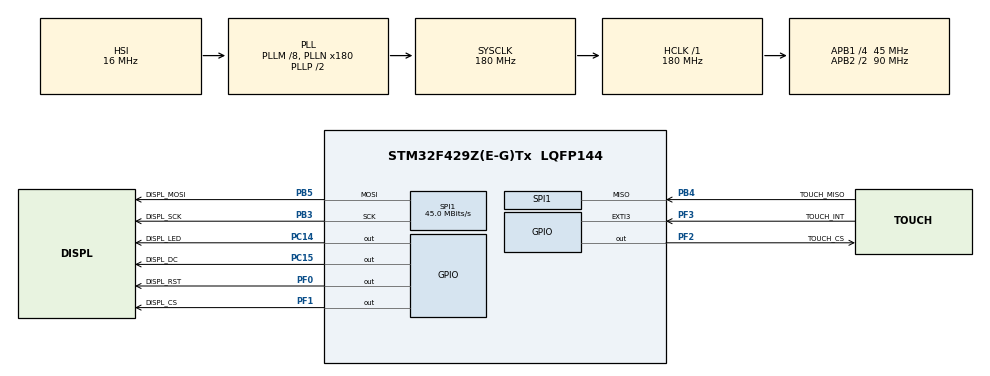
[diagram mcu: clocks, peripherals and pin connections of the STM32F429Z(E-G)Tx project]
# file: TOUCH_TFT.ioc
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Mcu.Family=STM32F4
Mcu.Name=STM32F429Z(E-G)Tx
Mcu.Package=LQFP144
NVIC.PriorityGroup=NVIC_PRIORITYGROUP_4
PB3.GPIO_Label=DISPL_SCK
PB3.Mode=Full_Duplex_Master
PB3.Signal=SPI1_SCK
PB4.GPIO_Label=TOUCH_MISO
PB4.Mode=Full_Duplex_Master
PB4.Signal=SPI1_MISO
PB5.GPIO_Label=DISPL_MOSI
PB5.Mode=Full_Duplex_Master
PB5.Signal=SPI1_MOSI
PC14/OSC32_IN.GPIO_Label=DISPL_LED
PC14/OSC32_IN.Signal=GPIO_Output
PC15/OSC32_OUT.GPIO_Label=DISPL_DC
PC15/OSC32_OUT.Signal=GPIO_Output
PF0.GPIO_Label=DISPL_RST
PF0.GPIO_Speed=GPIO_SPEED_FREQ_HIGH
PF0.Signal=GPIO_Output
PF1.GPIO_Label=DISPL_CS
PF1.GPIO_Speed=GPIO_SPEED_FREQ_HIGH
PF1.Signal=GPIO_Output
PF2.GPIO_Label=TOUCH_CS
PF2.Signal=GPIO_Output
PF3.GPIO_Label=TOUCH_INT
PF3.Signal=GPXTI3
PH0/OSC_IN.Mode=HSE-External-Oscillator
PH0/OSC_IN.Signal=RCC_OSC_IN
PH1/OSC_OUT.Mode=HSE-External-Oscillator
PH1/OSC_OUT.Signal=RCC_OSC_OUT
ProjectManager.HeapSize=0x200
ProjectManager.StackSize=0x400
ProjectManager.TargetToolchain=STM32CubeIDE
RCC.48MHZClocksFreq_Value=90000000
RCC.AHBFreq_Value=180000000
RCC.APB1CLKDivider=RCC_HCLK_DIV4
RCC.APB1Freq_Value=45000000
RCC.APB1TimFreq_Value=90000000
RCC.APB2CLKDivider=RCC_HCLK_DIV2
RCC.APB2Freq_Value=90000000
RCC.APB2TimFreq_Value=180000000
RCC.CortexFreq_Value=180000000
RCC.HCLKFreq_Value=180000000
RCC.HSE_VALUE=25000000
RCC.HSI_VALUE=16000000
RCC.LSE_VALUE=32768
RCC.PLLM=8
RCC.PLLN=180
RCC.SYSCLKFreq_VALUE=180000000
RCC.SYSCLKSource=RCC_SYSCLKSOURCE_PLLCLK
RCC.VCOOutputFreq_Value=360000000
SPI1.CalculateBaudRate=45.0 MBits/s
SPI1.Direction=SPI_DIRECTION_2LINES
SPI1.Mode=SPI_MODE_MASTER
SPI1.VirtualType=VM_MASTER
board=custom

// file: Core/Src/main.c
/* USER CODE BEGIN Header */
/**
  ******************************************************************************
  * @file           : main.c
  * @brief          : Main program body
  ******************************************************************************
  */
/* USER CODE END Header */

#include "main.h"

/* USER CODE BEGIN Includes */
#include "ili9488.h"
#include "xpt2046.h"
#include "ui_test.h"
#include "ui_gfx.h"
#include <stdio.h>
#include "ugfx.h"
#include "gradient.h"
/* USER CODE END Includes */

SPI_HandleTypeDef hspi1;

/* USER CODE BEGIN PV */
static char msg[64];

/*
 * Keep handles to widgets that callbacks need to reference.
 */
static ugfx_slider_t *g_sliderR = NULL;   /* Slider 1 — Rainbow / hue picker (VERTICAL)  */
static ugfx_slider_t *g_sliderG = NULL;   /* Slider 2 — Black → hue (HORIZONTAL)         */
static ugfx_slider_t *g_sliderB = NULL;   /* Slider 3 — Alpha → Blue (HORIZONTAL)        */
static ugfx_label_t  *g_label   = NULL;   /* status label                                */

/*
 * Declare the knob bitmap defined in ugfx.c so main.c can reference it.
 * The definition (KNOB_BMP_DATA[] + g_knob_bmp) lives in ugfx.c.
 */
extern const UI_Bitmap_t g_knob_bmp;

/* USER CODE END PV */

void SystemClock_Config(void);
static void MX_GPIO_Init(void);
static void MX_SPI1_Init(void);

/* USER CODE BEGIN PFP */

/* ══════════════════════════════════════════════════════════════════════════
   SLIDER CALLBACKS
   ══════════════════════════════════════════════════════════════════════════ */

int atest = 0;
int btest = 0;
int ctest = 0;

/**
 * @brief  Slider 1 — Rainbow hue picker (VERTICAL).
 *         Maps the 0-254 slider value → 0-360 hue and repaints ONLY the
 *         slider-2 pill track.
 */
static void OnSliderR_Changed(int32_t value)
{
    atest = (int)value;

    /* Map 0–254 slider range → 0–360 hue degrees */
    g_Slider2_Hue = (uint16_t)((value * 360) / 254);

    /* Repaint slider-2 gradient pill only — zero flicker */
    GRADIENT_RedrawSlider2Track();

    snprintf(msg, sizeof(msg), "H:%3u", (unsigned)g_Slider2_Hue);
    if (g_label) UGFX_LabelSetText(g_label, msg);
}

/**
 * @brief  Slider 2 — Black → dynamic hue (HORIZONTAL).
 */
static void OnSliderG_Changed(int32_t value)
{
    btest = (int)value;
    snprintf(msg, sizeof(msg), "B:%3d", btest);
    if (g_label) UGFX_LabelSetText(g_label, msg);
}

/**
 * @brief  Slider 3 — Alpha → Blue (HORIZONTAL).
 */
static void OnSliderB_Changed(int32_t value)
{
    ctest = (int)value;
    snprintf(msg, sizeof(msg), "C:%3d", ctest);
    if (g_label) UGFX_LabelSetText(g_label, msg);
}

/* ══════════════════════════════════════════════════════════════════════════
   BUTTON CALLBACKS
   ══════════════════════════════════════════════════════════════════════════ */

/**
 * @brief  RESET — resets all three sliders to 0 and restores hue.
 */
static void OnOkPressed(ugfx_button_t *btn)
{
    btn->label = "RESET!";

    atest = 0; btest = 0; ctest = 0;

    if (g_sliderR) UGFX_SliderSetValue(g_sliderR, 0);
    if (g_sliderG) UGFX_SliderSetValue(g_sliderG, 0);
    if (g_sliderB) UGFX_SliderSetValue(g_sliderB, 0);

    g_Slider2_Hue = 0u;
    GRADIENT_RedrawSlider2Track();

    if (g_label) UGFX_LabelSetText(g_label, "Reset OK");
}

/**
 * @brief  MID — sets all sliders to mid-range (100).
 */
static void OnTestPressed(ugfx_button_t *btn)
{
    btn->label    = "MID!";
    btn->col_idle = 0xF800u;
    btn->col_text = 0x0000u;

    atest = 100; btest = 100; ctest = 100;

    if (g_sliderR) UGFX_SliderSetValue(g_sliderR, 100);
    if (g_sliderG) UGFX_SliderSetValue(g_sliderG, 100);
    if (g_sliderB) UGFX_SliderSetValue(g_sliderB, 100);

    g_Slider2_Hue = (uint16_t)((100 * 360) / 255);
    GRADIENT_RedrawSlider2Track();

    if (g_label) UGFX_LabelSetText(g_label, "Mid set");
}

int test = 0;
static void OnTestPresseda(ugfx_button_t *btn)
{
    (void)btn;
    test++;
}

/* USER CODE END PFP */

int main(void)
{

    HAL_Init();

    SystemClock_Config();

    MX_GPIO_Init();
    MX_SPI1_Init();

    /* USER CODE BEGIN 2 */

    HAL_GPIO_WritePin(DISPL_CS_GPIO_Port, DISPL_CS_Pin, GPIO_PIN_SET);
    HAL_GPIO_WritePin(TOUCH_CS_GPIO_Port, TOUCH_CS_Pin, GPIO_PIN_SET);
    HAL_Delay(10);

    ILI9488_Init(&hspi1);
    ILI9488_SetOrientation(ILI9488_ORIENT_LANDSCAPE);
    XPT2046_Init(&hspi1);

    /* ── µGFX setup ──────────────────────────────────────────────────────── */
    UGFX_Init();
    UGFX_Begin();

    /* ══════════════════════════════════════════════════════════════════════
       SLIDER 1 — Rainbow / Hue picker  (VERTICAL, left side)
       Gradient pill: full hue rainbow, top=red → bottom=magenta
       bg_redraw_fn: GRADIENT_RedrawSlider1Track restores pill after erase
       knobBitmap:   24×24 diamond bitmap, white tint
       ══════════════════════════════════════════════════════════════════════ */
//    ugfx_slider_builder_t *sb = Slider(0, 254, 100);
//    sb->frame    (sb, 30, 350);
//    sb->origin   (sb, 12.5, 60);
//    sb->direction(sb, UGFX_HORIZONTAL);    /* col_track / col_fill are invisible behind the gradient pill,
//       but set them transparent so if bg_redraw_fn is ever removed
//       the track at least blends quietly */
//    sb->colors   (sb, 0x0000u, 0x0000u, 0xFFFFu);
//    sb->bgRedraw (sb, GRADIENT_RedrawSlider1Track);
//    sb->knobBitmap(sb, &g_knob_bmp, 1u, 0xFFFFu);
////    sb->onChanged(sb, OnSliderR_Changed);
//    g_sliderR = sb->build(sb);
//
//    /* ══════════════════════════════════════════════════════════════════════
//       SLIDER 2 — Black → dynamic hue  (HORIZONTAL)
//       Gradient pill: black → dark hue → bright hue (driven by slider 1)
//       bg_redraw_fn: GRADIENT_RedrawSlider2Track restores pill after erase
//       knobBitmap:   24×24 diamond bitmap, white tint
//       ══════════════════════════════════════════════════════════════════════ */
//    ugfx_slider_builder_t *sb1 = Slider(0, 254, 80);
//    sb1->frame    (sb1, 360, 15);
//    sb1->origin   (sb1, 125, 60);
//    sb1->direction(sb1, UGFX_HORIZONTAL);
//    sb1->colors   (sb1, 0x0000u, 0x0000u, 0xFFFFu);
//    sb1->bgRedraw (sb1, GRADIENT_RedrawSlider2Track);
//    sb1->knobBitmap(sb1, &g_knob_bmp, 1u, 0xFFFFu);
//    sb1->onChanged(sb1, OnSliderG_Changed);
//    g_sliderG = sb1->build(sb1);
//
//    /* ══════════════════════════════════════════════════════════════════════
//       SLIDER 3 — Checkerboard → Blue  (HORIZONTAL)
//       Gradient pill: checkerboard → solid blue (alpha illusion)
//       bg_redraw_fn: GRADIENT_RedrawSlider3Track restores pill after erase
//       knobBitmap:   24×24 diamond bitmap, white tint
//       ══════════════════════════════════════════════════════════════════════ */
//    ugfx_slider_builder_t *sb2 = Slider(0, 254, 160);
//    sb2->frame    (sb2, 360, 15);
//    sb2->origin   (sb2, 125, 185);
//    sb2->direction(sb2, UGFX_HORIZONTAL);
//    sb2->colors   (sb2, 0x0000u, 0x0000u, 0xFFFFu);
//    sb2->bgRedraw (sb2, GRADIENT_RedrawSlider3Track);
//    sb2->knobBitmap(sb2, &g_knob_bmp, 1u, 0xFFFFu);
//    sb2->onChanged(sb2, OnSliderB_Changed);
//    g_sliderB = sb2->build(sb2);
//
//    /* ── Buttons ─────────────────────────────────────────────────────────── */
//    ugfx_button_builder_t *bb = Button("OK");
//    bb->frame (bb, 80, 50);
//    bb->origin(bb, 300, 270);
//    bb->onTap (bb, OnOkPressed);
//    bb->build (bb);
//
//    ugfx_button_builder_t *bbb = Button("TEST");
//    bbb->frame (bbb, 80, 50);
//    bbb->origin(bbb, 350, 270);
//    bbb->onTap (bbb, OnTestPressed);
//    bbb->build (bbb);
//
//    ugfx_button_builder_t *bbb1 = Button("a++");
//    bbb1->frame (bbb1, 50, 50);
//    bbb1->origin(bbb1, 430, 270);
//    bbb1->onTap (bbb1, OnTestPresseda);
//    bbb1->build (bbb1);
//
//    /* ── Label (uncomment to enable) ────────────────────────────────────── */
//    /* ugfx_label_builder_t *lb = Label("Ready");
//       lb->origin(lb, 30, 280);
//       lb->size  (lb, 2);
//       g_label = lb->build(lb); */
//
//    /* ── Initial draw sequence ───────────────────────────────────────────
//     *
//     *  ORDER MATTERS:
//     *    1. FillScreen     — blank slate
//     *    2. DrawStaticSliderImage — paints background gradient + all three
//     *                        gradient pills (rainbow, black→hue, checker→blue)
//     *    3. UGFX_Commit    — draws buttons and slider knobs ON TOP of the pills
//     *
//     *  After this point every UGFX_SliderDraw() call will:
//     *    a. Erase only the knob bounding square
//     *    b. Call bg_redraw_fn() to restore the pill underneath
//     *    c. Draw the bitmap knob on top
//     *  producing zero ghost pixels and a gradient always visible behind knobs.
//     ─────────────────────────────────────────────────────────────────────── */
//
//    /* Boot hue matches the initial value of slider 1 (100 out of 254) */
//    g_Slider2_Hue = (uint16_t)((100 * 360) / 254);
//
//    ILI9488_FillScreen(0x0000u);
//
//    DrawStaticSliderImage();   /* background gradient + all three pills     */
//
//    UGFX_Commit();             /* buttons + knobs on top                    */
//    GRADIENT_RedrawSlider1Track();
//    GRADIENT_RedrawSlider2Track();
//    GRADIENT_RedrawSlider3Track();
//    /* USER CODE END 2 */

        /* ══════════════════════════════════════════════════════════════════════
           SLIDER 1 — Rainbow / Hue picker  (HORIZONTAL, top band)
           origin(100, 35), frame(360, 60)
           Maps 0-254 → hue 0-360, drives slider 2 gradient colour
//           ══════════════════════════════════════════════════════════════════════ */
//        ugfx_slider_builder_t *sb = Slider(0, 254, 100);
//        sb->frame    (sb, 360, 60);
//        sb->origin   (sb, 100, 35);
//        sb->direction(sb, UGFX_HORIZONTAL);
////        sb->colors   (sb, 0x0000u, 0x0000u, 0x0000u);
//        sb->bgRedraw (sb, GRADIENT_RedrawSlider1Track);
//        sb->knobBitmap(sb, &g_knob_bmp, 1u, 0xFFFFu);
//        sb->onChanged(sb, OnSliderR_Changed);
//        g_sliderR = sb->build(sb);
//
//        /* ══════════════════════════════════════════════════════════════════════
//           SLIDER 2 — Black → dynamic hue  (HORIZONTAL, middle band)
//           origin(100, 140), frame(360, 60)
//           ══════════════════════════════════════════════════════════════════════ */
//        ugfx_slider_builder_t *sb1 = Slider(0, 254, 80);
//        sb1->frame    (sb1, 360, 60);
//        sb1->origin   (sb1, 100, 140);
//        sb1->direction(sb1, UGFX_HORIZONTAL);
//        sb1->colors   (sb1, 0x0000u, 0x0000u, 0xFFFFu);
//        sb1->bgRedraw (sb1, GRADIENT_RedrawSlider2Track);
//        sb1->knobBitmap(sb1, &g_knob_bmp, 1u, 0xFFFFu);
//        sb1->onChanged(sb1, OnSliderG_Changed);
//        g_sliderG = sb1->build(sb1);
//
//        /* ══════════════════════════════════════════════════════════════════════
//           SLIDER 3 — Alpha → Blue  (VERTICAL, left column)
//           origin(25, 35), frame(60, 250)
//           ══════════════════════════════════════════════════════════════════════ */
//        ugfx_slider_builder_t *sb2 = Slider(0, 254, 160);
//        sb2->frame    (sb2, 60, 250);
//        sb2->origin   (sb2, 25, 35);
//        sb2->direction(sb2, UGFX_VERTICAL);
//        sb2->colors   (sb2, 0x0000u, 0x0000u, 0xFFFFu);
//        sb2->bgRedraw (sb2, GRADIENT_RedrawSlider3Track);
//        sb2->knobBitmap(sb2, &g_knob_bmp, 1u, 0xFFFFu);
//        sb2->onChanged(sb2, OnSliderB_Changed);
//        g_sliderB = sb2->build(sb2);
//
//        /* ── Boot hue matches slider 1 initial value (100 out of 254) ───── */
//        g_Slider2_Hue = (uint16_t)((100 * 360) / 254);
//
//        ugfx_button_builder_t *bbb1 = Button("a++");
//           bbb1->frame (bbb1, 50, 50);
//           bbb1->origin(bbb1, 430, 270);
//           bbb1->onTap (bbb1, OnTestPresseda);
//           bbb1->build (bbb1);
//
//        ILI9488_FillScreen(0x0000u);
//        DrawStaticSliderImage();
//        UGFX_Commit();

    ugfx_slider_builder_t *sb = Slider(0, 254, 100);
        sb->frame    (sb, 370, 60);
        sb->origin   (sb, 95, 35);
        sb->direction(sb, UGFX_HORIZONTAL);
        sb->colors   (sb, UGFX_COL_TRANSPARENT, UGFX_COL_TRANSPARENT, 0xFFFFu);
        sb->bgRedraw (sb, GRADIENT_RedrawSlider1Track);
        sb->knobBitmap(sb, &g_knob_bmp, 1u, 0xFFFFu);
        sb->onChanged(sb, OnSliderR_Changed);
        g_sliderR = sb->build(sb);

        /* ══════════════════════════════════════════════════════════════════════
           SLIDER 2 — Black → dynamic hue  (HORIZONTAL, middle band)
           Pill: origin(100,140), frame(360,60) — matches gradient.c S2_*
           ══════════════════════════════════════════════════════════════════════ */
        ugfx_slider_builder_t *sb1 = Slider(0, 254, 80);
        sb1->frame    (sb1, 360, 60);
        sb1->origin   (sb1, 100, 140);
        sb1->direction(sb1, UGFX_HORIZONTAL);
        sb1->colors   (sb1, UGFX_COL_TRANSPARENT, UGFX_COL_TRANSPARENT, 0xFFFFu);
        sb1->bgRedraw (sb1, GRADIENT_RedrawSlider2Track);
        sb1->knobBitmap(sb1, &g_knob_bmp, 1u, 0xFFFFu);
        sb1->onChanged(sb1, OnSliderG_Changed);
        g_sliderG = sb1->build(sb1);

        /* ══════════════════════════════════════════════════════════════════════
           SLIDER 3 — Alpha → Blue  (VERTICAL, left column)
           Pill: origin(25,35), frame(60,250) — matches gradient.c S3_*
           ══════════════════════════════════════════════════════════════════════ */
        ugfx_slider_builder_t *sb2 = Slider(0, 254, 160);
        sb2->frame    (sb2, 60, 250);
        sb2->origin   (sb2, 25, 35);
        sb2->direction(sb2, UGFX_VERTICAL);
        sb2->colors   (sb2, UGFX_COL_TRANSPARENT, UGFX_COL_TRANSPARENT, 0xFFFFu);
        sb2->bgRedraw (sb2, GRADIENT_RedrawSlider3Track);
        sb2->knobBitmap(sb2, &g_knob_bmp, 1u, 0xFFFFu);
        sb2->onChanged(sb2, OnSliderB_Changed);
        g_sliderB = sb2->build(sb2);

        /* ── Button ──────────────────────────────────────────────────────────── */
        ugfx_button_builder_t *bbb1 = Button("a++");
        bbb1->frame (bbb1, 50, 50);
        bbb1->origin(bbb1, 430, 270);
        bbb1->onTap (bbb1, OnTestPresseda);
        bbb1->build (bbb1);

        /* ── Boot hue matches slider 1 initial value (100/254) ──────────────── */
        g_Slider2_Hue = (uint16_t)((100 * 360) / 254);

        ILI9488_FillScreen(0x0000u);
        DrawStaticSliderImage();   /* background gradient + all three pills      */
        UGFX_Commit();

    /* Infinite loop */
    while (1)
    {
        /* USER CODE BEGIN 3 */

        UGFX_Poll();

        /* USER CODE END 3 */
    }
}

void SystemClock_Config(void)
{
    RCC_OscInitTypeDef RCC_OscInitStruct = {0};
    RCC_ClkInitTypeDef RCC_ClkInitStruct = {0};

    __HAL_RCC_PWR_CLK_ENABLE();
    __HAL_PWR_VOLTAGESCALING_CONFIG(PWR_REGULATOR_VOLTAGE_SCALE1);

    RCC_OscInitStruct.OscillatorType      = RCC_OSCILLATORTYPE_HSI;
    RCC_OscInitStruct.HSIState            = RCC_HSI_ON;
    RCC_OscInitStruct.HSICalibrationValue = RCC_HSICALIBRATION_DEFAULT;
    RCC_OscInitStruct.PLL.PLLState        = RCC_PLL_ON;
    RCC_OscInitStruct.PLL.PLLSource       = RCC_PLLSOURCE_HSI;
    RCC_OscInitStruct.PLL.PLLM            = 8;
    RCC_OscInitStruct.PLL.PLLN            = 180;
    RCC_OscInitStruct.PLL.PLLP            = RCC_PLLP_DIV2;
    RCC_OscInitStruct.PLL.PLLQ            = 4;
    if (HAL_RCC_OscConfig(&RCC_OscInitStruct) != HAL_OK) { Error_Handler(); }

    if (HAL_PWREx_EnableOverDrive() != HAL_OK) { Error_Handler(); }

    RCC_ClkInitStruct.ClockType      = RCC_CLOCKTYPE_HCLK | RCC_CLOCKTYPE_SYSCLK
                                     | RCC_CLOCKTYPE_PCLK1 | RCC_CLOCKTYPE_PCLK2;
    RCC_ClkInitStruct.SYSCLKSource   = RCC_SYSCLKSOURCE_PLLCLK;
    RCC_ClkInitStruct.AHBCLKDivider  = RCC_SYSCLK_DIV1;
    RCC_ClkInitStruct.APB1CLKDivider = RCC_HCLK_DIV4;
    RCC_ClkInitStruct.APB2CLKDivider = RCC_HCLK_DIV2;
    if (HAL_RCC_ClockConfig(&RCC_ClkInitStruct, FLASH_LATENCY_5) != HAL_OK) { Error_Handler(); }
}

/**
  * @brief SPI1 Initialization
  */
static void MX_SPI1_Init(void)
{
    hspi1.Instance               = SPI1;
    hspi1.Init.Mode              = SPI_MODE_MASTER;
    hspi1.Init.Direction         = SPI_DIRECTION_2LINES;
    hspi1.Init.DataSize          = SPI_DATASIZE_8BIT;
    hspi1.Init.CLKPolarity       = SPI_POLARITY_LOW;
    hspi1.Init.CLKPhase          = SPI_PHASE_1EDGE;
    hspi1.Init.NSS               = SPI_NSS_SOFT;
    hspi1.Init.BaudRatePrescaler = SPI_BAUDRATEPRESCALER_2;
    hspi1.Init.FirstBit          = SPI_FIRSTBIT_MSB;
    hspi1.Init.TIMode            = SPI_TIMODE_DISABLE;
    hspi1.Init.CRCCalculation    = SPI_CRCCALCULATION_DISABLE;
    hspi1.Init.CRCPolynomial     = 10;
    if (HAL_SPI_Init(&hspi1) != HAL_OK) { Error_Handler(); }
}

/**
  * @brief GPIO Initialization
  */
static void MX_GPIO_Init(void)
{
    GPIO_InitTypeDef GPIO_InitStruct = {0};

    __HAL_RCC_GPIOC_CLK_ENABLE();
    __HAL_RCC_GPIOF_CLK_ENABLE();
    __HAL_RCC_GPIOH_CLK_ENABLE();
    __HAL_RCC_GPIOB_CLK_ENABLE();

    HAL_GPIO_WritePin(GPIOC, DISPL_LED_Pin | DISPL_DC_Pin, GPIO_PIN_RESET);
    HAL_GPIO_WritePin(GPIOF, DISPL_RST_Pin | DISPL_CS_Pin | TOUCH_CS_Pin, GPIO_PIN_RESET);

    GPIO_InitStruct.Pin   = DISPL_LED_Pin | DISPL_DC_Pin;
    GPIO_InitStruct.Mode  = GPIO_MODE_OUTPUT_PP;
    GPIO_InitStruct.Pull  = GPIO_NOPULL;
    GPIO_InitStruct.Speed = GPIO_SPEED_FREQ_LOW;
    HAL_GPIO_Init(GPIOC, &GPIO_InitStruct);

    GPIO_InitStruct.Pin   = DISPL_RST_Pin | DISPL_CS_Pin;
    GPIO_InitStruct.Mode  = GPIO_MODE_OUTPUT_PP;
    GPIO_InitStruct.Pull  = GPIO_NOPULL;
    GPIO_InitStruct.Speed = GPIO_SPEED_FREQ_HIGH;
    HAL_GPIO_Init(GPIOF, &GPIO_InitStruct);

    GPIO_InitStruct.Pin   = TOUCH_CS_Pin;
    GPIO_InitStruct.Mode  = GPIO_MODE_OUTPUT_PP;
    GPIO_InitStruct.Pull  = GPIO_NOPULL;
    GPIO_InitStruct.Speed = GPIO_SPEED_FREQ_LOW;
    HAL_GPIO_Init(TOUCH_CS_GPIO_Port, &GPIO_InitStruct);

    GPIO_InitStruct.Pin  = TOUCH_INT_Pin;
    GPIO_InitStruct.Mode = GPIO_MODE_IT_RISING;
    GPIO_InitStruct.Pull = GPIO_NOPULL;
    HAL_GPIO_Init(TOUCH_INT_GPIO_Port, &GPIO_InitStruct);
}

/* USER CODE BEGIN 4 */
void HAL_GPIO_EXTI_Callback(uint16_t GPIO_Pin)
{
    if (GPIO_Pin == TOUCH_INT_Pin)
        XPT2046_IRQHandler();
}
/* USER CODE END 4 */

void Error_Handler(void)
{
    __disable_irq();
    while (1) { }
}
